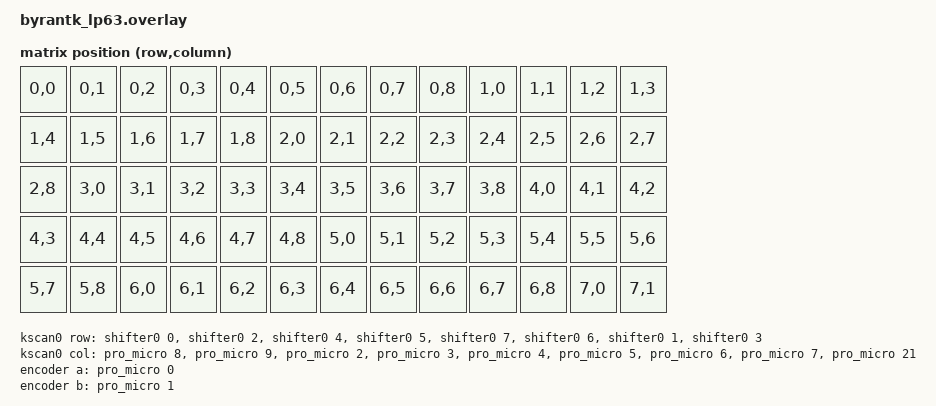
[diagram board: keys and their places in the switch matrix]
#include <dt-bindings/zmk/matrix_transform.h>
#include <dt-bindings/led/led.h>

/ {
	chosen {
		zmk,kscan = &kscan0;
		zmk,matrix-transform = &default_transform;
		zmk,underglow = &kerf_led_split;
	};

	default_transform: keymap_transform_0 {
		compatible = "zmk,matrix-transform";
		columns = <9>;
		rows = <8>;
		map = <
RC(0,0) RC(0,1) RC(0,2) RC(0,3) RC(0,4) RC(0,5) RC(0,6) RC(0,7) RC(0,8) RC(1,0) RC(1,1) RC(1,2) RC(1,3)
RC(1,4) RC(1,5) RC(1,6) RC(1,7) RC(1,8) RC(2,0) RC(2,1) RC(2,2) RC(2,3) RC(2,4) RC(2,5) RC(2,6) RC(2,7)
RC(2,8) RC(3,0) RC(3,1) RC(3,2) RC(3,3) RC(3,4) RC(3,5) RC(3,6) RC(3,7) RC(3,8) RC(4,0) RC(4,1) RC(4,2)
RC(4,3) RC(4,4) RC(4,5) RC(4,6) RC(4,7) RC(4,8) RC(5,0) RC(5,1) RC(5,2) RC(5,3) RC(5,4) RC(5,5) RC(5,6)
RC(5,7) RC(5,8) RC(6,0) RC(6,1) RC(6,2) RC(6,3) RC(6,4) RC(6,5) RC(6,6) RC(6,7) RC(6,8) RC(7,0) RC(7,1)
		>;
	};

	kscan0: kscan {
		compatible = "zmk,kscan-gpio-matrix";
		label = "KSCAN";
		diode-direction = "row2col";

		row-gpios
			= <&shifter0 0 GPIO_ACTIVE_HIGH>
			, <&shifter0 2 GPIO_ACTIVE_HIGH>
			, <&shifter0 4 GPIO_ACTIVE_HIGH>
			, <&shifter0 5 GPIO_ACTIVE_HIGH>
			, <&shifter0 7 GPIO_ACTIVE_HIGH>
			, <&shifter0 6 GPIO_ACTIVE_HIGH>
			, <&shifter0 1 GPIO_ACTIVE_HIGH>
			, <&shifter0 3 GPIO_ACTIVE_HIGH>
			;

		col-gpios
			= <&pro_micro 8 (GPIO_ACTIVE_HIGH | GPIO_PULL_DOWN)>
			, <&pro_micro 9 (GPIO_ACTIVE_HIGH | GPIO_PULL_DOWN)>
			, <&pro_micro 2 (GPIO_ACTIVE_HIGH | GPIO_PULL_DOWN)>
			, <&pro_micro 3 (GPIO_ACTIVE_HIGH | GPIO_PULL_DOWN)>
			, <&pro_micro 4 (GPIO_ACTIVE_HIGH | GPIO_PULL_DOWN)>
			, <&pro_micro 5 (GPIO_ACTIVE_HIGH | GPIO_PULL_DOWN)>
			, <&pro_micro 6 (GPIO_ACTIVE_HIGH | GPIO_PULL_DOWN)>
			, <&pro_micro 7 (GPIO_ACTIVE_HIGH | GPIO_PULL_DOWN)>
			, <&pro_micro 21 (GPIO_ACTIVE_HIGH | GPIO_PULL_DOWN)>
			;
	};

	encoder: encoder {
		compatible = "alps,ec11";
		a-gpios = <&pro_micro 0 (GPIO_ACTIVE_HIGH | GPIO_PULL_UP)>;
		b-gpios = <&pro_micro 1 (GPIO_ACTIVE_HIGH | GPIO_PULL_UP)>;
		steps = <80>;
		status = "okay";
	};

	sensors: sensors {
		compatible = "zmk,keymap-sensors";
		sensors = <&encoder>;
		triggers-per-rotation = <20>;
	};

	kerf_led_split: kerf_led_split {
		compatible = "kerf,led-strip-split";
		raw-led-strip = <&led_strip>;
		chain-length = <9>;
		underglow-pixels = <8>;
	};

	ext-power {
		compatible = "zmk,ext-power-generic";
		label = "EXT_POWER";
		control-gpios = <&pro_micro 20 GPIO_ACTIVE_HIGH>;
		init-delay-ms = <50>;
	};
};

&gpio0 {
	status = "okay";
	vcc_always_on {
		gpio-hog;
		gpios = <13 GPIO_ACTIVE_HIGH>;
		output-high;
		line-name = "VCC_595_VIEW";
	};
};

&spi0 {
	status = "okay";
	cs-gpios = <&pro_micro 14 GPIO_ACTIVE_LOW>, <&pro_micro 15 GPIO_ACTIVE_HIGH>;

	shifter0: 74hc595@0 {
		compatible = "ti,74hc595";
		reg = <0>;
		spi-max-frequency = <10000000>;
		gpio-controller;
		#gpio-cells = <2>;
		ngpios = <8>;
		status = "okay";
	};
};

&spi1 {
	status = "okay";
	led_strip: ws2812@0 {
		compatible = "worldsemi,ws2812-spi";
		reg = <0>;
		spi-max-frequency = <4000000>;
		chain-length = <9>;
		spi-one-frame = <0x70>;
		spi-zero-frame = <0x40>;
		color-mapping = <LED_COLOR_ID_GREEN LED_COLOR_ID_RED LED_COLOR_ID_BLUE>;
	};
};
